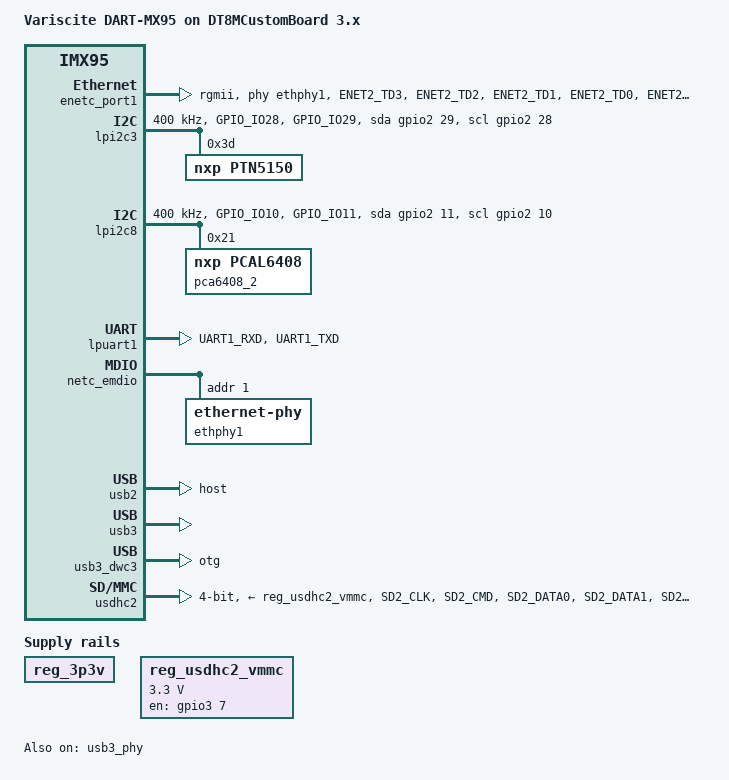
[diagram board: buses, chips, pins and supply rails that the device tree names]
// SPDX-License-Identifier: (GPL-2.0+ OR MIT)
/*
 * Copyright 2023 NXP
 * Copyright 2024 Variscite Ltd.
 */

/dts-v1/;

#include "imx95-var-dart.dtsi"

/ {
	model = "Variscite DART-MX95 on DT8MCustomBoard 3.x";

	chosen {
		bootargs = "console=ttyLP0,115200 earlycon";
		stdout-path = &lpuart1;
	};

	reg_3p3v: regulator-3p3v {
		compatible = "regulator-fixed";
		regulator-name = "+V3.3_SW";
	};

	reg_usdhc2_vmmc: regulator-usdhc2 {
		compatible = "regulator-fixed";
		pinctrl-names = "default";
		pinctrl-0 = <&pinctrl_reg_usdhc2_vmmc>;
		regulator-name = "VDD_SD2_3V3";
		regulator-min-microvolt = <3300000>;
		regulator-max-microvolt = <3300000>;
		gpio = <&gpio3 7 GPIO_ACTIVE_HIGH>;
		off-on-delay-us = <12000>;
		enable-active-high;
	};
};

&enetc_port1 {
	pinctrl-names = "default";
	pinctrl-0 = <&pinctrl_enetc1>;
	phy-handle = <&ethphy1>;
	phy-mode = "rgmii";
	status = "okay";
};

&lpi2c3 {
	#address-cells = <1>;
	#size-cells = <0>;
	clock-frequency = <400000>;
	pinctrl-names = "default", "gpio", "sleep";
	pinctrl-0 = <&pinctrl_lpi2c3>;
	pinctrl-1 = <&pinctrl_lpi2c3_gpio>;
	pinctrl-2 = <&pinctrl_lpi2c3_gpio>;
	scl-gpios = <&gpio2 28 GPIO_ACTIVE_HIGH>;
	sda-gpios = <&gpio2 29 GPIO_ACTIVE_HIGH>;
	status = "okay";

	ptn5150: ptn5150@3d {
		compatible = "nxp,ptn5150";
		pinctrl-names = "default";
		reg = <0x3d>;
		i2c-bus = <0x2>;
		status = "okay";
	};
};

&lpi2c8 {
	#address-cells = <1>;
	#size-cells = <0>;
	clock-frequency = <400000>;
	pinctrl-names = "default","gpio","sleep";
	pinctrl-0 = <&pinctrl_lpi2c8>;
	pinctrl-1 = <&pinctrl_lpi2c8_gpio>;
	pinctrl-2 = <&pinctrl_lpi2c8_gpio>;
	scl-gpios = <&gpio2 10 GPIO_ACTIVE_HIGH>;
	sda-gpios = <&gpio2 11 GPIO_ACTIVE_HIGH>;
	status = "okay";

	pca6408_2: gpio@21 {
		compatible = "nxp,pcal6408";
		reg = <0x21>;
		gpio-controller;
		#gpio-cells = <2>;
	};
};

&lpuart1 {
	/* console */
	pinctrl-names = "default";
	pinctrl-0 = <&pinctrl_uart1>;
	status = "okay";
};

&netc_emdio {
	status = "okay";

	ethphy1: ethernet-phy@1 {
		eee-broken-1000t;
		reg = <1>;
	};
};

&usb2 {
	dr_mode = "host";
	hnp-disable;
	srp-disable;
	adp-disable;
	disable-over-current;
	status = "okay";
};

&usb3 {
	status = "okay";
};

&usb3_phy {
	status = "okay";
};

&usb3_dwc3 {
	dr_mode = "otg";
	extcon = <&ptn5150>;
	hnp-disable;
	srp-disable;
	adp-disable;
	usb-role-switch;
	role-switch-default-mode = "none";
	status = "okay";
};

&usdhc2 {
	pinctrl-names = "default", "state_100mhz", "state_200mhz";
	pinctrl-0 = <&pinctrl_usdhc2>, <&pinctrl_usdhc2_gpio>;
	pinctrl-1 = <&pinctrl_usdhc2_100mhz>, <&pinctrl_usdhc2_gpio>;
	pinctrl-2 = <&pinctrl_usdhc2_200mhz>, <&pinctrl_usdhc2_gpio>;
	cd-gpios = <&gpio3 00 GPIO_ACTIVE_LOW>;
	vmmc-supply = <&reg_usdhc2_vmmc>;
	bus-width = <4>;
	status = "okay";
};

&scmi_iomuxc {
	pinctrl_lpi2c3: lpi2c3grp {
		fsl,pins = <
			IMX95_PAD_GPIO_IO28__LPI2C3_SDA			0x40000b9e
			IMX95_PAD_GPIO_IO29__LPI2C3_SCL			0x40000b9e
		>;
	};

	pinctrl_lpi2c3_gpio: lpi2c3grp-gpio {
		fsl,pins = <
			IMX95_PAD_GPIO_IO28__GPIO2_IO_BIT28		0x31e
			IMX95_PAD_GPIO_IO29__GPIO2_IO_BIT29		0x31e
		>;
	};

	pinctrl_lpi2c8: lpi2c8grp {
		fsl,pins = <
			IMX95_PAD_GPIO_IO10__LPI2C8_SDA			0x40000b9e
			IMX95_PAD_GPIO_IO11__LPI2C8_SCL			0x40000b9e
		>;
	};

	pinctrl_lpi2c8_gpio: lpi2c8grp-gpio {
		fsl,pins = <
			IMX95_PAD_GPIO_IO10__GPIO2_IO_BIT10		0x31e
			IMX95_PAD_GPIO_IO11__GPIO2_IO_BIT11		0x31e
		>;
	};

	pinctrl_uart1: uart1grp {
		fsl,pins = <
			IMX95_PAD_UART1_RXD__AONMIX_TOP_LPUART1_RX      0x31e
			IMX95_PAD_UART1_TXD__AONMIX_TOP_LPUART1_TX      0x31e
		>;
	};

	pinctrl_enetc1: enetc1grp {
		fsl,pins = <
			IMX95_PAD_ENET2_TD3__NETCMIX_TOP_ETH1_RGMII_TD3		0x57e
			IMX95_PAD_ENET2_TD2__NETCMIX_TOP_ETH1_RGMII_TD2		0x57e
			IMX95_PAD_ENET2_TD1__NETCMIX_TOP_ETH1_RGMII_TD1		0x57e
			IMX95_PAD_ENET2_TD0__NETCMIX_TOP_ETH1_RGMII_TD0		0x57e
			IMX95_PAD_ENET2_TX_CTL__NETCMIX_TOP_ETH1_RGMII_TX_CTL	0x57e
			IMX95_PAD_ENET2_TXC__NETCMIX_TOP_ETH1_RGMII_TX_CLK	0x5fe
			IMX95_PAD_ENET2_RX_CTL__NETCMIX_TOP_ETH1_RGMII_RX_CTL	0x57e
			IMX95_PAD_ENET2_RXC__NETCMIX_TOP_ETH1_RGMII_RX_CLK	0x5fe
			IMX95_PAD_ENET2_RD0__NETCMIX_TOP_ETH1_RGMII_RD0		0x57e
			IMX95_PAD_ENET2_RD1__NETCMIX_TOP_ETH1_RGMII_RD1		0x57e
			IMX95_PAD_ENET2_RD2__NETCMIX_TOP_ETH1_RGMII_RD2		0x57e
			IMX95_PAD_ENET2_RD3__NETCMIX_TOP_ETH1_RGMII_RD3		0x57e
		>;
	};

	pinctrl_ptn5150: ptn5150grp {
		fsl,pins = <
			IMX95_PAD_GPIO_IO34__GPIO5_IO_BIT14			0x31e
		>;
	};

	pinctrl_reg_usdhc2_vmmc: regusdhc2vmmcgrp {
		fsl,pins = <
			IMX95_PAD_SD2_RESET_B__GPIO3_IO_BIT7			0x31e
		>;
	};

	pinctrl_usdhc2_gpio: usdhc2gpiogrp {
		fsl,pins = <
			IMX95_PAD_SD2_CD_B__GPIO3_IO_BIT0			0x31e
		>;
	};

	pinctrl_usdhc2: usdhc2grp {
		fsl,pins = <
			IMX95_PAD_SD2_CLK__USDHC2_CLK				0x158e
			IMX95_PAD_SD2_CMD__USDHC2_CMD				0x138e
			IMX95_PAD_SD2_DATA0__USDHC2_DATA0			0x138e
			IMX95_PAD_SD2_DATA1__USDHC2_DATA1			0x138e
			IMX95_PAD_SD2_DATA2__USDHC2_DATA2			0x138e
			IMX95_PAD_SD2_DATA3__USDHC2_DATA3			0x138e
			IMX95_PAD_SD2_VSELECT__USDHC2_VSELECT			0x51e
		>;
	};

	pinctrl_usdhc2_100mhz: usdhc2-100mhzgrp {
		fsl,pins = <
			IMX95_PAD_SD2_CLK__USDHC2_CLK				0x158e
			IMX95_PAD_SD2_CMD__USDHC2_CMD				0x138e
			IMX95_PAD_SD2_DATA0__USDHC2_DATA0			0x138e
			IMX95_PAD_SD2_DATA1__USDHC2_DATA1			0x138e
			IMX95_PAD_SD2_DATA2__USDHC2_DATA2			0x138e
			IMX95_PAD_SD2_DATA3__USDHC2_DATA3			0x138e
			IMX95_PAD_SD2_VSELECT__USDHC2_VSELECT			0x51e
		>;
	};

	pinctrl_usdhc2_200mhz: usdhc2-200mhzgrp {
		fsl,pins = <
			IMX95_PAD_SD2_CLK__USDHC2_CLK				0x15fe
			IMX95_PAD_SD2_CMD__USDHC2_CMD				0x13fe
			IMX95_PAD_SD2_DATA0__USDHC2_DATA0			0x13fe
			IMX95_PAD_SD2_DATA1__USDHC2_DATA1			0x13fe
			IMX95_PAD_SD2_DATA2__USDHC2_DATA2			0x13fe
			IMX95_PAD_SD2_DATA3__USDHC2_DATA3			0x13fe
			IMX95_PAD_SD2_VSELECT__USDHC2_VSELECT			0x51e
		>;
	};
};
